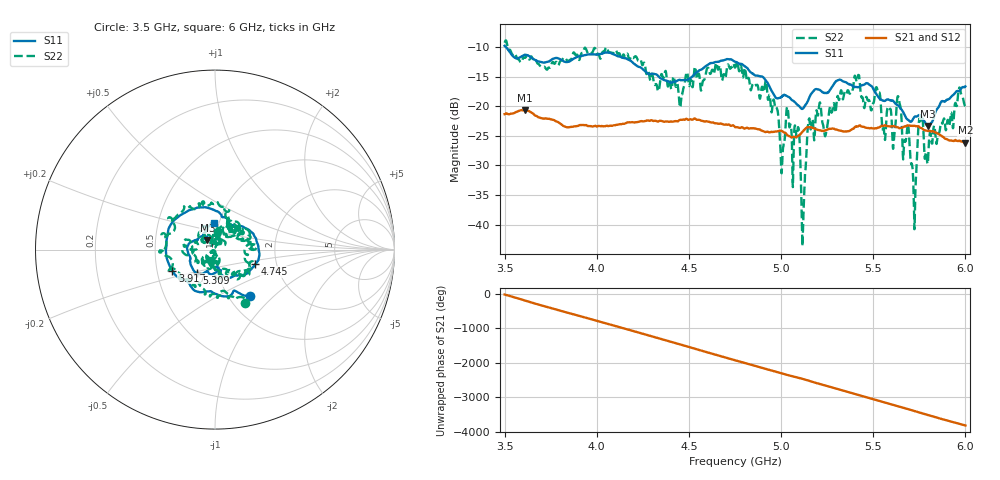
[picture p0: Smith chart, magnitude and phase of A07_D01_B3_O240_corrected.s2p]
! Created with skrf 1.9.0 (http://scikit-rf.org).
# Hz S RI R 50.0
!freq ReS11 ImS11 ReS21 ImS21 ReS12 ImS12 ReS22 ImS22
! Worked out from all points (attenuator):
!   1601 points, 3.5 GHz to 6 GHz, reference 50 ohm
!   highest |S21| = -20.66 dB at 3.611 GHz (marker M1); lowest = -26.1 dB at 6 GHz (marker M2)
!   lowest |S11| = -23.3 dB at 5.797 GHz (marker M3), VSWR 1.15, Z = 45.7 + j4.87 ohm
!   |S11| at or under -10 dB: 3.506 GHz to end of sweep
!   |S22| runs from -43.6 to -8.9 dB; largest |S21 - S12| = 0.0014
!   S11 on the Smith chart (normalised r, x): 3.5 GHz: 1.25, -0.72; 3.917 GHz: 0.60, -0.15; 4.745 GHz: 1.55, -0.26; 5.309 GHz: 0.79, -0.21; 6 GHz: 0.95, +0.28
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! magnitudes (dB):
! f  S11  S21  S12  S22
! 3.5 GHz  -9.8  -21.3  -21.3  -9.3
! 3.611 GHz  -11.3  -20.7  -20.7  -11.9
! 3.917 GHz  -11.5  -23.2  -23.2  -11.1
! 4.334 GHz  -15.0  -22.6  -22.5  -17.5
! 4.745 GHz  -12.4  -23.4  -23.3  -13.1
! 4.75 GHz  -12.5  -23.5  -23.5  -13.5
! 4.969 GHz  -18.5  -24.3  -24.3  -20.3
! 5.006 GHz  -18.3  -24.2  -24.2  -29.3
! 5.036 GHz  -18.3  -24.9  -24.9  -20.3
! 5.086 GHz  -19.7  -25.2  -25.2  -25.0
! 5.119 GHz  -20.4  -24.2  -24.2  -41.1
! 5.145 GHz  -19.1  -23.5  -23.5  -23.4
! 5.167 GHz  -17.8  -23.6  -23.6  -22.4
! 5.309 GHz  -15.6  -24.0  -24.0  -18.4
! 5.411 GHz  -16.8  -23.4  -23.5  -15.7
! 5.584 GHz  -18.9  -23.4  -23.4  -20.5
! 5.611 GHz  -19.2  -23.4  -23.3  -26.2
! 5.641 GHz  -20.0  -23.7  -23.7  -19.1
! 5.722 GHz  -21.8  -23.3  -23.3  -38.3
! 5.756 GHz  -21.6  -23.6  -23.6  -22.7
! 5.797 GHz  -23.3  -24.2  -24.2  -29.5
! 6 GHz  -16.7  -26.1  -26.1  -20.0
